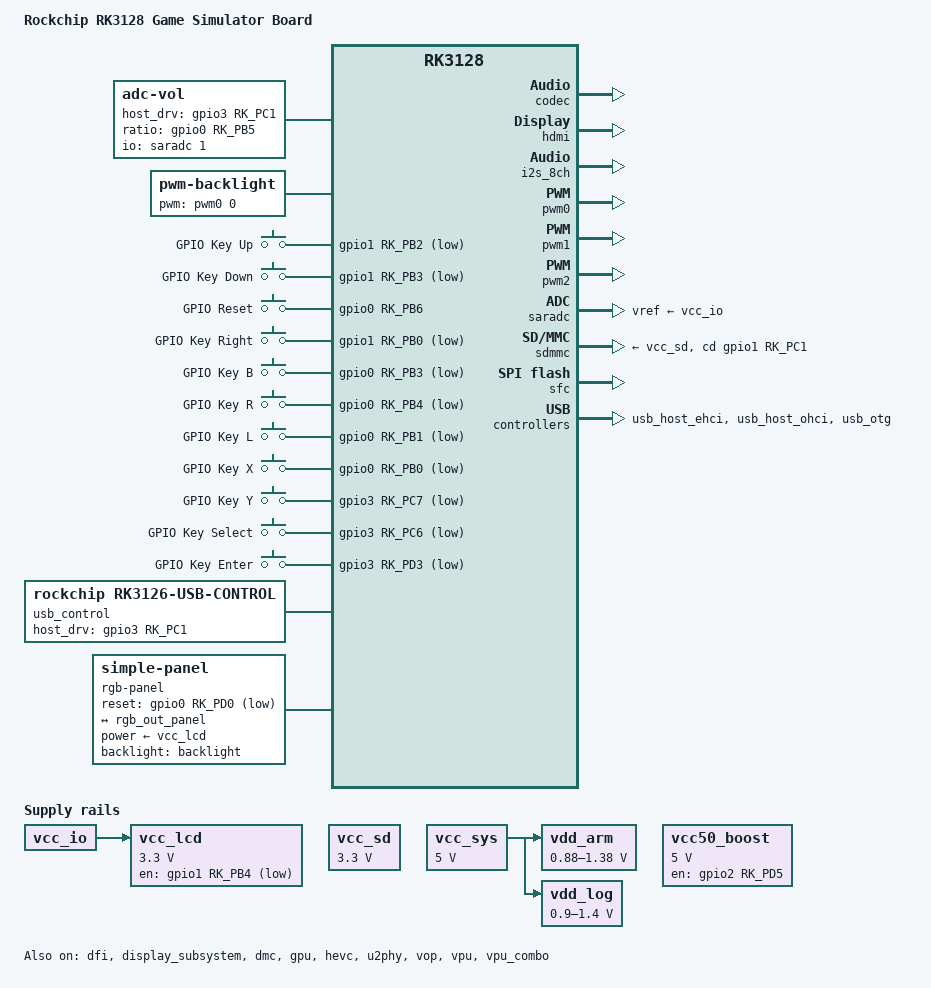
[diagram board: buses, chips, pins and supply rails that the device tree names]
// SPDX-License-Identifier: (GPL-2.0+ OR MIT)
/dts-v1/;

#include "rk3128.dtsi"
#include <dt-bindings/input/input.h>

/ {
	model = "Rockchip RK3128 Game Simulator Board";
	compatible = "rockchip,rk3128-gamesim", "rockchip,rk3128";

	chosen {
		//bootargs = "earlycon=uart8250,mmio32,0x20060000 console=ttyFIQ0 loglevel=7 root=PARTUUID=614e0000-0000-4b53-8000-1d28000054a9 rootwait";
		bootargs = "console=ttyFIQ0 loglevel=7 swiotlb=1 root=PARTUUID=614e0000-0000-4b53-8000-1d28000054a9 rootwait";
	};

	adc-vol {
		compatible = "adc-vol";
		io-channels = <&saradc 1>;
		io-channel-names = "variant";
		poll-interval = <100>;
		range = <100>;
		resolution = <10>;
		linux,volup = <KEY_KPPLUS>;
		linux,voldown = <KEY_KPMINUS>;
		host_drv_gpio = <&gpio3 RK_PC1 GPIO_ACTIVE_HIGH>;
		ratio_gpio = <&gpio0 RK_PB5 GPIO_ACTIVE_HIGH>;
	};
/*
	adc-pot {
		compatible = "adc-pot";
		io-channels = <&saradc 0>;
		io-channel-names = "variant";
		poll-interval = <100>;
		range = <100>;
		resolution = <10>;
		linux,code = <KEY_FN>;
	};

	adc-battery {
		status = "okay";
		compatible = "rk30-adc-battery";
		io-channels = <&saradc 2>;
		pinctrl-names = "default";
		pinctrl-0 = <&chg_en &chg_ok>;
		chg_ok_gpio = <&gpio3 RK_PD2 GPIO_ACTIVE_HIGH>;
		dc_det_gpio = <&gpio0 RK_PC1 GPIO_ACTIVE_HIGH>;
		auto_calibration = <0>;
		ref_voltage = <3300>;
		bat_table = <0 0 0 0 200 200
			3400 3729 3795 3844 3874 3921 3977 4014 4029 4043 4109
			3400 3729 3795 3844 3874 3921 3977 4014 4029 4043 4109>;
		is_dc_charge = <1>;
		is_usb_charge = <1>;
	};
*/
	backlight: backlight {
		compatible = "pwm-backlight";

		brightness-levels = <0 1 2 3 4 5 6 7 8 9 10 11 12 13 14 15 16
		17 18 19 20 21 22 23 24 25 26 27 28 29 30 31 32 33 34 35 36 37
		38 39 40 41 42 43 44 45 46 47 48 49 50 51 52 53 54 55 56 57 58
		59 60 61 62 63 64 65 66 67 68 69 70 71 72 73 74 75 76 77 78 79
		80 81 82 83 84 85 86 87 88 89 90 91 92 93 94 95 96 97 98 99 100
		101 102 103 104 105 106 107 108 109 110 111 112 113 114 115 116
		117 118 119 120 121 122 123 124 125 126 127 128 129 130 131 132
		133 134 135 136 137 138 139 140 141 142 143 144 145 146 147 148
		149 150 151 152 153 154 155 156 157 158 159 160 161 162 163 164
		165 166 167 168 169 170 171 172 173 174 175 176 177 178 179 180
		181 182 183 184 185 186 187 188 189 190 191 192 193 194 195 196
		197 198 199 200 201 202 203 204 205 206 207 208 209 210 211 212
		213 214 215 216 217 218 219 220 221 222 223 224 225 226 227 228
		229 230 231 232 233 234 235 236 237 238 239 240 241 242 243 244
		245 246 247 248 249 250 251 252 253 254 255>;

		default-brightness-level = <128>;
		pwms = <&pwm0 0 25000 0>;

		status = "okay";
	};

	gpio-keys {
		compatible = "gpio-keys";
		autorepeat;

		pinctrl-names = "default";
		pinctrl-0 = <&game_keys>;

		/* todo 100ms debounce is horrible? */
		up {
			gpios = <&gpio1 RK_PB2 GPIO_ACTIVE_LOW>;
			linux,code = <KEY_UP>;
			label = "GPIO Key Up";
			debounce-interval = <20>;
		};

		down {
			gpios = <&gpio1 RK_PB3 GPIO_ACTIVE_LOW>;
			linux,code = <KEY_DOWN>;
			label = "GPIO Key Down";
			debounce-interval = <20>;
		};

		/* revert left and right gpio due to bad pcb */
		left {
			gpios = <&gpio0 RK_PB6 GPIO_ACTIVE_HIGH>;
			linux,code = <KEY_F3>;
			label = "GPIO Reset";
			debounce-interval = <20>;
		};

		right {
			gpios = <&gpio1 RK_PB0 GPIO_ACTIVE_LOW>;
			linux,code = <KEY_RIGHT>;
			label = "GPIO Key Right";
			debounce-interval = <20>;
		};

		f2 {
			gpios = <&gpio0 RK_PB3 GPIO_ACTIVE_LOW>;
			linux,code = <KEY_B>;
			label = "GPIO Key B";
			debounce-interval = <20>;
		};

		f3 {
			gpios = <&gpio0 RK_PB4 GPIO_ACTIVE_LOW>;
			linux,code = <KEY_R>;
			label = "GPIO Key R";
			debounce-interval = <20>;
		};

		f4 {
			gpios = <&gpio0 RK_PB1 GPIO_ACTIVE_LOW>;
			linux,code = <KEY_L>;
			label = "GPIO Key L";
			debounce-interval = <20>;
		};

		f5 {
			gpios = <&gpio0 RK_PB0 GPIO_ACTIVE_LOW>;
			linux,code = <KEY_X>;
			label = "GPIO Key X";
			debounce-interval = <20>;
		};

		f6 {
			gpios = <&gpio3 RK_PC7 GPIO_ACTIVE_LOW>;
			linux,code = <KEY_Y>;
			label = "GPIO Key Y";
			debounce-interval = <20>;
		};

		select {
			gpios = <&gpio3 RK_PC6 GPIO_ACTIVE_LOW>;
			linux,code = <KEY_RIGHTSHIFT>;
			label = "GPIO Key Select";
			debounce-interval = <20>;
		};

		start {
			gpios = <&gpio3 RK_PD3 GPIO_ACTIVE_LOW>;
			linux,code = <KEY_ENTER>;
			label = "GPIO Key Enter";
			debounce-interval = <20>;
		};
	};

	fiq-debugger {
		compatible = "rockchip,fiq-debugger";

		pinctrl-names = "default";
		pinctrl-0 = <&uart0_xfer>;

		rockchip,serial-id = <0>;
		rockchip,wake-irq = <0>;
		/* If enable uart uses irq instead of fiq */
		rockchip,irq-mode-enable = <0>;
		rockchip,baudrate = <115200>;  /* Only 115200 and 1500000 */
		/* Choose a reserved/no-in-use irq */
		interrupts = <GIC_SPI 127 IRQ_TYPE_LEVEL_LOW>;
		status = "okay";
	};

	sound: sound {
		compatible = "simple-audio-card";
		simple-audio-card,format = "i2s";
		simple-audio-card,name = "rockchip,rk312x-codec";
		simple-audio-card,mclk-fs = <256>;
		simple-audio-card,widgets =
			"Headphone", "Headphone Jack";
		simple-audio-card,routing =
			"Headphone Jack", "HPOL",
			"Headphone Jack", "HPOR";

		simple-audio-card,dai-link@0 {
			format = "i2s";
			cpu {
				sound-dai = <&i2s_8ch>;
			};

			codec {
				sound-dai = <&codec>;
			};
		};

		simple-audio-card,dai-link@1 {
			format = "i2s";
			cpu {
				sound-dai = <&i2s_8ch>;
			};

			codec {
				sound-dai = <&hdmi>;
			};
		};
	};


	usb_control {
		compatible = "rockchip,rk3126-usb-control";

		host_drv_gpio = <&gpio3 RK_PC1 GPIO_ACTIVE_HIGH>;
		rockchip,remote_wakeup;
		rockchip,usb_irq_wakeup;
	};

	vcc_sd: vcc_sd_ext: vcc_io: vcc-io {
		compatible = "regulator-fixed";
		regulator-name = "vcc_io";
		regulator-min-microvolt = <3300000>;
		regulator-max-microvolt = <3300000>;
		regulator-always-on;
		regulator-boot-on;
	};

	vcc_lcd: vcc-lcd {
		compatible = "regulator-fixed";
		gpio = <&gpio1 RK_PB4 GPIO_ACTIVE_LOW>;
		regulator-name = "vcc_lcd";
		regulator-min-microvolt = <3300000>;
		regulator-max-microvolt = <3300000>;
		vin-supply = <&vcc_io>;
		regulator-boot-on;	/* boot-on because uboot show logo */
	};

	vcc_sys: vcc-sys {
		compatible = "regulator-fixed";
		regulator-name = "vcc_sys";
		regulator-min-microvolt = <5000000>;
		regulator-max-microvolt = <5000000>;
		regulator-always-on;
		regulator-boot-on;
	};

	vcc50_boost: vcc50-boost {
		compatible = "regulator-fixed";
		gpio = <&gpio2 RK_PD5 GPIO_ACTIVE_HIGH>;
		regulator-name = "vcc50_boost";
		enable-active-high;
		regulator-min-microvolt = <5000000>;
		regulator-max-microvolt = <5000000>;
		regulator-always-on;
		regulator-boot-on;
	};

	vdd_arm: vdd-arm {
		compatible = "pwm-regulator";
		pwms = <&pwm1 0 5000 0>;
		regulator-name = "vdd_arm";
		/* TODO: From schematic, volt is [0.9, 1.4], but with those
		 * Vmin Vmax, we get ~15mv lower than expected.
		 * Hack the Vmin Vmax so we get a slight higher volt.
		 */
		regulator-min-microvolt = <880000>;
		regulator-max-microvolt = <1380000>;
		regulator-init-microvolt = <1100000>;
		regulator-early-min-microvolt = <1100000>;
		regulator-always-on;
		regulator-boot-on;

		pwm-supply = <&vcc_sys>;
		pwm-dutycycle-range = <100 0>;
		pwm-dutycycle-unit = <100>;
	};

	vdd_log: vdd-log {
		compatible = "pwm-regulator";
		pwms = <&pwm2 0 5000 0>;
		regulator-name = "vdd_log";
		regulator-min-microvolt = <900000>;
		regulator-max-microvolt = <1400000>;
		regulator-init-microvolt = <1100000>;
		regulator-early-min-microvolt = <1100000>;
		regulator-always-on;
		regulator-boot-on;

		pwm-supply = <&vcc_sys>;
		pwm-dutycycle-range = <100 0>;
		pwm-dutycycle-unit = <100>;
	};

	reserved-memory {
		#address-cells = <1>;
		#size-cells = <1>;
		ranges;

		drm_logo: drm-logo@00000000 {
			compatible = "rockchip,drm-logo";
			reg = <0x0 0x0>;
		};
	};

	rgb-panel {
		compatible = "simple-panel";
		power-supply = <&vcc_lcd>;
		backlight = <&backlight>;
		pinctrl-names = "default";
		pinctrl-0 = <&lcd_reset>;

		bus-format = <MEDIA_BUS_FMT_RBG888_1X24>;
		width-mm = <105>;
		height-mm = <67>;

		reset-gpios = <&gpio0 RK_PD0 GPIO_ACTIVE_LOW>;
		/* todo is necessary */
		reset-delay-ms = <60>;
		enable-delay-ms = <100>;
		prepare-delay-ms = <100>;

		rockchip,data-width = <24>;
		rockchip,output = "rgb";

		display-timings {
			native-mode = <&timing0>;
			timing0: timing0 {
				clock-frequency = <9300000>;
				hactive = <480>;
				hback-porch = <43>;
				hfront-porch = <8>;
				hsync-len = <1>;
				vactive = <272>;
				vback-porch = <12>;
				vfront-porch = <8>;
				vsync-len = <1>;
				hsync-active = <0>;
				vsync-active = <0>;
				de-active = <0>;
				pixelclk-active = <1>;
			};
		};

		port {
			panel_in_rgb: endpoint {
				remote-endpoint = <&rgb_out_panel>;
			};
		};
	};
};

&codec {
	#sound-dai-cells = <0>;
	hp-ctl-gpios = <&gpio3 RK_PC4 GPIO_ACTIVE_HIGH>;
	spk-ctl-gpios = <&gpio0 RK_PD6 GPIO_ACTIVE_HIGH>;
	av-ctl-gpios = <&gpio1 RK_PA3 GPIO_ACTIVE_HIGH>;
	spk-mute-delay = <200>;
	hp-mute-delay = <100>;
	spk_volume = <25>;
	hp_volume = <25>;
	capture_volume = <26>;
	gpio_debug = <0>;
	codec_hp_det = <1>;
	status = "okay";
};

&cpu0 {
	cpu-supply = <&vdd_arm>;
};

&dfi {
	status = "okay";
};

&display_subsystem {
	logo-memory-region = <&drm_logo>;
	status = "okay";

	route {
		route_lvds: route-lvds {
			status = "okay";
			logo,uboot = "logo.bmp";
			logo,kernel = "logo_kernel.bmp";
			logo,mode = "center";
			charge_logo,mode = "center";
			connect = <&vop_out_lvds>;
		};
	};
};

&dmc {
	center-supply = <&vdd_log>;
	status = "okay";
};

&gpu {
	status = "okay";
	mali-supply = <&vdd_log>;
};

&hdmi {
	status = "okay";
};

&hevc {
        status = "okay";
};

&hevc_mmu {
        status = "okay";
};

&i2s_8ch {
	#sound-dai-cells = <0>;
	status = "okay";
};

&lvds {
	status = "disabled";
	pinctrl-names = "default";
	pinctrl-0 = <&lcdc_lcdc>;

	ports {
		port@1 {
			reg = <1>;

			rgb_out_panel: endpoint {
				remote-endpoint = <&panel_in_rgb>;
			};
		};
	};
};

&pwm0 {
	status = "okay";
};

&pwm1 {
	status = "okay";
};

&pwm2 {
	status = "okay";
};

&saradc {
	status = "okay";
	vref-supply = <&vcc_io>;
};

&sdmmc {
	clock-frequency = <37500000>;
	clock-freq-min-max = <400000 37500000>;
	supports-highspeed;
	supports-sd;
	broken-cd;
	card-detect-delay = <200>;
	ignore-pm-notify;
	keep-power-in-suspend;
	vmmc-supply = <&vcc_sd>;
	cd-gpios = <&gpio1 RK_PC1 GPIO_ACTIVE_HIGH>;
	status = "okay";
};

&sdio {
	clock-frequency = <37500000>;
	clock-freq-min-max = <400000 37500000>;
	supports-highspeed;
	supports-sd;
	broken-cd;
	card-detect-delay = <200>;
	ignore-pm-notify;
	keep-power-in-suspend;
	vmmc-supply = <&vcc_sd_ext>;
	cd-gpios = <&gpio0 RK_PA2 GPIO_ACTIVE_HIGH>;
	status = "disabled";
};

&sfc {
	status = "okay";
};

&u2phy {
	status = "okay";

	u2phy_otg: otg-port {
		status = "okay";
	};

	u2phy_host: host-port {
		status = "okay";
	};
};

&usb_host_ehci {
	status = "okay";
};

&usb_host_ohci {
	status = "okay";
};

&usb_otg {
	status = "okay";
};

&vop {
	status = "okay";
};

&vop_mmu {
	status = "okay";
};

&vpu {
        status = "okay";
};

&vpu_combo {
        status = "okay";
};

&vpu_mmu {
        status = "okay";
};

&pinctrl {
/*
	battery {
		chg_en: chg-en {
			rockchip,pins = <3 RK_PC1 RK_FUNC_GPIO &pcfg_output_high>;
		};
		chg_ok: chg-ok {
			rockchip,pins = <3 RK_PD2 RK_FUNC_GPIO &pcfg_pull_default>;
		};
	};
*/
	buttons {
		game_keys: game-keys {
			rockchip,pins =
				<0 RK_PB0 RK_FUNC_GPIO &pcfg_pull_default>,
				<0 RK_PB1 RK_FUNC_GPIO &pcfg_pull_default>,
				<0 RK_PB3 RK_FUNC_GPIO &pcfg_pull_default>,
				<0 RK_PB4 RK_FUNC_GPIO &pcfg_pull_default>,
				<0 RK_PB5 RK_FUNC_GPIO &pcfg_pull_default>,
				<0 RK_PB6 RK_FUNC_GPIO &pcfg_pull_none>,
				<1 RK_PB0 RK_FUNC_GPIO &pcfg_pull_default>,
				<1 RK_PB2 RK_FUNC_GPIO &pcfg_pull_default>,
				<1 RK_PB3 RK_FUNC_GPIO &pcfg_pull_default>,
				<3 RK_PC6 RK_FUNC_GPIO &pcfg_pull_default>,
				<3 RK_PC7 RK_FUNC_GPIO &pcfg_pull_default>,
				<3 RK_PD3 RK_FUNC_GPIO &pcfg_pull_default>;
		};
	};

	lcdc {
		lcd_reset: lcd-reset {
			rockchip,pins = <0 RK_PD0 RK_FUNC_GPIO &pcfg_pull_none>;
		};

		lcdc_lcdc: lcdc-lcdc {
			rockchip,pins =
				<2 RK_PB0 RK_FUNC_1 &pcfg_pull_none>, /* DCLK */
				<2 RK_PB1 RK_FUNC_1 &pcfg_pull_none>, /* HSYNC */
				<2 RK_PB2 RK_FUNC_1 &pcfg_pull_none>, /* VSYNC */
				<2 RK_PB3 RK_FUNC_1 &pcfg_pull_none>, /* DEN */
				<2 RK_PB4 RK_FUNC_1 &pcfg_pull_none>, /* DATA10 */
				<2 RK_PB5 RK_FUNC_1 &pcfg_pull_none>, /* DATA11 */
				<2 RK_PB6 RK_FUNC_1 &pcfg_pull_none>, /* DATA12 */
				<2 RK_PB7 RK_FUNC_1 &pcfg_pull_none>, /* DATA13 */
				<2 RK_PC0 RK_FUNC_1 &pcfg_pull_none>, /* DATA14 */
				<2 RK_PC1 RK_FUNC_1 &pcfg_pull_none>, /* DATA15 */
				<2 RK_PC2 RK_FUNC_1 &pcfg_pull_none>, /* DATA16 */
				<2 RK_PC3 RK_FUNC_1 &pcfg_pull_none>, /* DATA17 */
				<2 RK_PC4 RK_FUNC_1 &pcfg_pull_none>, /* DATA18 */
				<2 RK_PC5 RK_FUNC_1 &pcfg_pull_none>, /* DATA19 */
				<2 RK_PC6 RK_FUNC_1 &pcfg_pull_none>, /* DATA20 */
				<2 RK_PC7 RK_FUNC_1 &pcfg_pull_none>, /* DATA21 */
				<2 RK_PD0 RK_FUNC_1 &pcfg_pull_none>, /* DATA22 */
				<2 RK_PD1 RK_FUNC_1 &pcfg_pull_none>; /* DATA23 */
		};
	};
};
